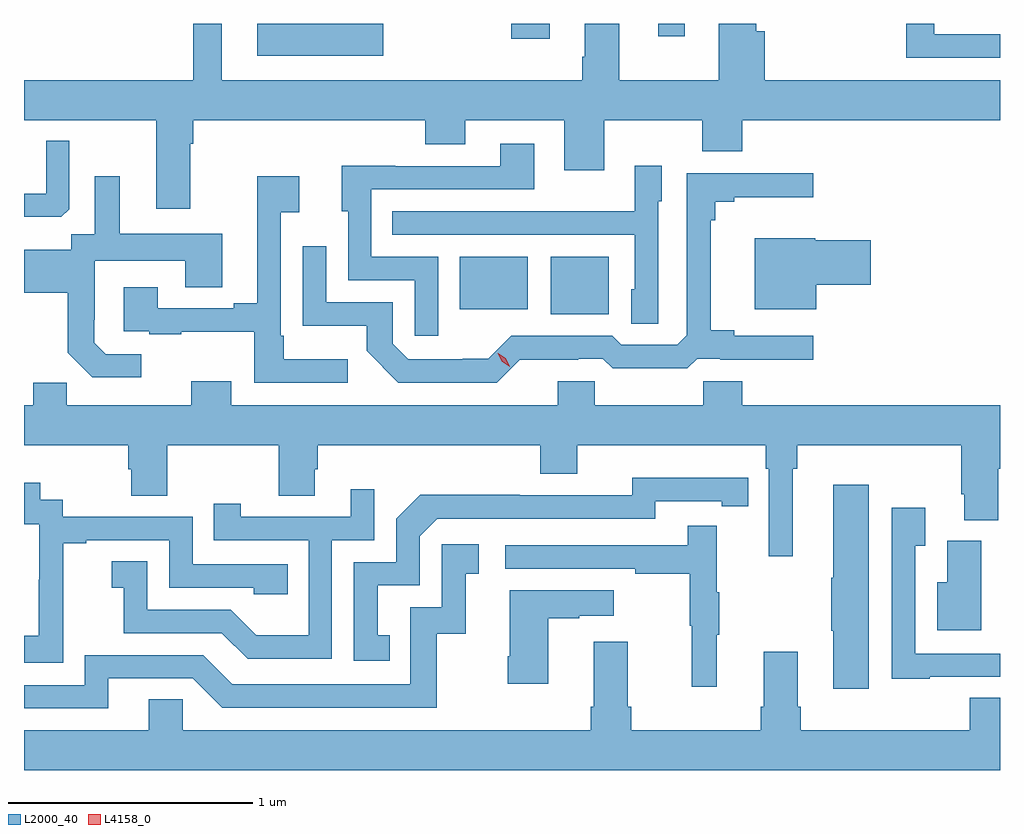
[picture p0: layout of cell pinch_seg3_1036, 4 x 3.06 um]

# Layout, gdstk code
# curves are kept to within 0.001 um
import gdstk
lib = gdstk.Library(unit=1e-6, precision=1e-09)
def R(c, l, rs):  # rectangles x0, y0, x1, y1
    for r in rs: c.add(gdstk.rectangle(r[:2], r[2:], *l))
def P(c, l, *ps):  # polygons
    for p in ps: c.add(gdstk.Polygon(p, *l))
L2000_40 = (2000, 40)
L4158_0 = (4158, 0)

pinch_seg3_1036 = lib.new_cell('pinch_seg3_1036')
R(pinch_seg3_1036, L2000_40, [(361.982,730.757,362.221,730.993), (361.61,730.778,361.888,730.993), (360.779,731.816,361.297,731.947), (361.82,731.886,361.978,731.947), (362.423,731.895,362.533,731.947)])
P(pinch_seg3_1036, L2000_40, [(363.824,731.904),(363.555,731.904),(363.555,731.947),(363.439,731.947),(363.439,731.808),(363.824,731.808)],
  [(360.505,731.456),(360.518,731.456),(360.518,731.552),(361.469,731.552),(361.469,731.453),(361.633,731.453),(361.633,731.552),(362.039,731.552),(362.039,731.346),(362.203,731.346),(362.203,731.552),(362.603,731.552),(362.603,731.424),(362.767,731.424),(362.767,731.552),(363.824,731.552),(363.824,731.716),(362.86,731.716),(362.86,731.917),(362.825,731.917),(362.825,731.947),(362.672,731.947),(362.672,731.716),(362.263,731.716),(362.263,731.947),(362.123,731.947),(362.123,731.812),(362.111,731.812),(362.111,731.716),(360.634,731.716),(360.634,731.947),(360.517,731.947),(360.517,731.716),(359.824,731.716),(359.824,731.552),(360.365,731.552),(360.365,731.19),(360.505,731.19)],
  [(360.009,731.187),(360.009,731.467),(359.916,731.467),(359.916,731.25),(359.824,731.25),(359.824,731.156),(359.977,731.156)],
  [(361.521,730.992),(361.248,730.992),(361.248,731.268),(361.915,731.268),(361.915,731.455),(361.775,731.455),(361.775,731.364),(361.345,731.364),(361.345,731.366),(361.127,731.366),(361.127,731.178),(361.152,731.178),(361.152,730.896),(361.425,730.896),(361.425,730.668),(361.521,730.668)],
  [(362.424,731.22),(362.437,731.22),(362.437,731.365),(362.328,731.365),(362.328,731.179),(362.011,731.179),(362.011,731.178),(361.333,731.178),(361.333,731.082),(362.328,731.082),(362.328,730.86),(362.312,730.86),(362.312,730.717),(362.424,730.717)],
  [(361.856,730.571),(362.096,730.571),(362.096,730.575),(362.196,730.575),(362.236,730.536),(362.543,730.536),(362.583,730.575),(362.677,730.575),(362.677,730.571),(363.058,730.571),(363.058,730.668),(362.734,730.668),(362.734,730.691),(362.639,730.691),(362.639,731.141),(362.657,731.141),(362.657,731.218),(362.734,731.218),(362.734,731.237),(363.058,731.237),(363.058,731.334),(362.541,731.334),(362.541,730.671),(362.502,730.632),(362.271,730.632),(362.235,730.668),(361.821,730.668),(361.727,730.574),(361.622,730.574),(361.622,730.572),(361.398,730.572),(361.335,730.635),(361.335,730.806),(361.062,730.806),(361.062,731.035),(360.966,731.035),(360.966,730.709),(361.228,730.709),(361.228,730.607),(361.358,730.476),(361.761,730.476)],
  [(360.304,730.593),(360.159,730.593),(360.112,730.64),(360.112,730.735),(360.114,730.735),(360.114,730.976),(360.485,730.976),(360.485,730.867),(360.637,730.867),(360.637,731.086),(360.217,731.086),(360.217,731.323),(360.113,731.323),(360.113,731.084),(360.018,731.084),(360.018,731.02),(359.824,731.02),(359.824,730.845),(360.003,730.845),(360.003,730.599),(360.103,730.499),(360.304,730.499)],
  [(361.15,730.573),(360.889,730.573),(360.889,730.669),(360.876,730.669),(360.876,731.174),(360.952,731.174),(360.952,731.323),(360.779,731.323),(360.779,730.801),(360.683,730.801),(360.683,730.782),(360.373,730.782),(360.373,730.867),(360.233,730.867),(360.233,730.686),(360.337,730.686),(360.337,730.674),(360.469,730.674),(360.469,730.685),(360.768,730.685),(360.768,730.476),(361.15,730.476)],
  [(363.07,730.877),(363.295,730.877),(363.295,731.06),(363.066,731.06),(363.066,731.068),(362.819,731.068),(362.819,730.778),(363.07,730.778)],
  [(359.999,730.475),(359.861,730.475),(359.861,730.384),(359.824,730.384),(359.824,730.22),(360.251,730.22),(360.251,730.122),(360.263,730.122),(360.263,730.012),(360.411,730.012),(360.411,730.22),(360.868,730.22),(360.868,730.012),(361.015,730.012),(361.015,730.122),(361.028,730.122),(361.028,730.22),(361.94,730.22),(361.94,730.103),(362.092,730.103),(362.092,730.22),(362.864,730.22),(362.864,730.124),(362.877,730.124),(362.877,729.765),(362.974,729.765),(362.974,730.124),(362.993,730.124),(362.993,730.22),(363.665,730.22),(363.665,730.018),(363.677,730.018),(363.677,729.913),(363.817,729.913),(363.817,730.124),(363.824,730.124),(363.824,730.384),(362.768,730.384),(362.768,730.482),(362.608,730.482),(362.608,730.384),(362.163,730.384),(362.163,730.482),(362.012,730.482),(362.012,730.384),(360.673,730.384),(360.673,730.483),(360.509,730.483),(360.509,730.384),(359.999,730.384)],
  [(361.322,729.441),(361.273,729.441),(361.273,729.645),(361.446,729.645),(361.446,729.846),(361.518,729.918),(362.412,729.918),(362.412,729.99),(362.684,729.99),(362.684,729.97),(362.792,729.97),(362.792,730.086),(362.316,730.087),(362.316,730.014),(361.856,730.014),(361.856,730.016),(361.448,730.016),(361.35,729.918),(361.35,729.741),(361.176,729.741),(361.176,729.336),(361.322,729.336)],
  [(359.985,729.535),(359.984,729.535),(359.984,729.819),(360.079,729.819),(360.079,729.831),(360.42,729.831),(360.42,729.636),(360.765,729.636),(360.765,729.609),(360.905,729.609),(360.905,729.732),(360.516,729.732),(360.516,729.927),(359.982,729.927),(359.982,729.996),(359.89,729.996),(359.89,730.066),(359.824,730.066),(359.824,729.897),(359.886,729.897),(359.886,729.668),(359.885,729.668),(359.885,729.439),(359.824,729.439),(359.824,729.329),(359.985,729.329)],
  [(363.286,730.057),(363.14,730.057),(363.14,729.677),(363.133,729.677),(363.133,729.46),(363.14,729.46),(363.14,729.222),(363.286,729.222)],
  [(361.086,729.831),(361.26,729.831),(361.26,730.039),(361.163,730.039),(361.163,729.927),(360.712,729.927),(360.712,729.979),(360.601,729.979),(360.601,729.831),(360.99,729.831),(360.99,729.442),(360.776,729.442),(360.672,729.546),(360.33,729.546),(360.33,729.745),(360.183,729.745),(360.183,729.635),(360.232,729.635),(360.232,729.45),(360.635,729.45),(360.74,729.345),(361.086,729.345)],
  [(363.537,729.27),(363.824,729.27),(363.824,729.366),(363.477,729.366),(363.477,729.808),(363.517,729.808),(363.517,729.964),(363.381,729.964),(363.381,729.263),(363.537,729.263)],
  [(362.663,729.443),(362.674,729.443),(362.674,729.617),(362.663,729.617),(362.663,729.889),(362.545,729.889),(362.545,729.81),(361.797,729.81),(361.797,729.714),(362.329,729.714),(362.329,729.694),(362.553,729.694),(362.553,729.48),(362.56,729.48),(362.56,729.231),(362.663,729.231)],
  [(363.748,729.828),(363.608,729.828),(363.608,729.658),(363.566,729.658),(363.566,729.461),(363.748,729.461)],
  [(360.169,729.264),(360.516,729.264),(360.636,729.144),(361.516,729.144),(361.516,729.447),(361.634,729.447),(361.634,729.693),(361.687,729.693),(361.687,729.814),(361.536,729.814),(361.536,729.555),(361.407,729.555),(361.407,729.24),(360.678,729.24),(360.558,729.36),(360.072,729.36),(360.072,729.237),(359.824,729.237),(359.824,729.141),(360.169,729.141)],
  [(361.972,729.511),(362.099,729.511),(362.099,729.521),(362.242,729.521),(362.242,729.625),(361.814,729.625),(361.814,729.355),(361.807,729.355),(361.807,729.243),(361.972,729.243)],
  [(363.824,729.185),(363.701,729.185),(363.701,729.052),(363.008,729.052),(363.008,729.148),(362.995,729.148),(362.995,729.373),(362.855,729.373),(362.855,729.148),(362.843,729.148),(362.843,729.052),(362.312,729.052),(362.312,729.148),(362.299,729.148),(362.299,729.415),(362.159,729.415),(362.159,729.148),(362.147,729.148),(362.147,729.052),(360.474,729.052),(360.474,729.179),(360.335,729.179),(360.335,729.052),(359.824,729.052),(359.824,728.888),(363.824,728.888)])
P(pinch_seg3_1036, L4158_0, [(361.814,730.542),(361.783,730.563),(361.766,730.597),(361.766,730.597),(361.767,730.597),(361.798,730.576),(361.814,730.543),(361.814,730.542)])

lib.write_gds('pinch_seg3_1036.gds')
